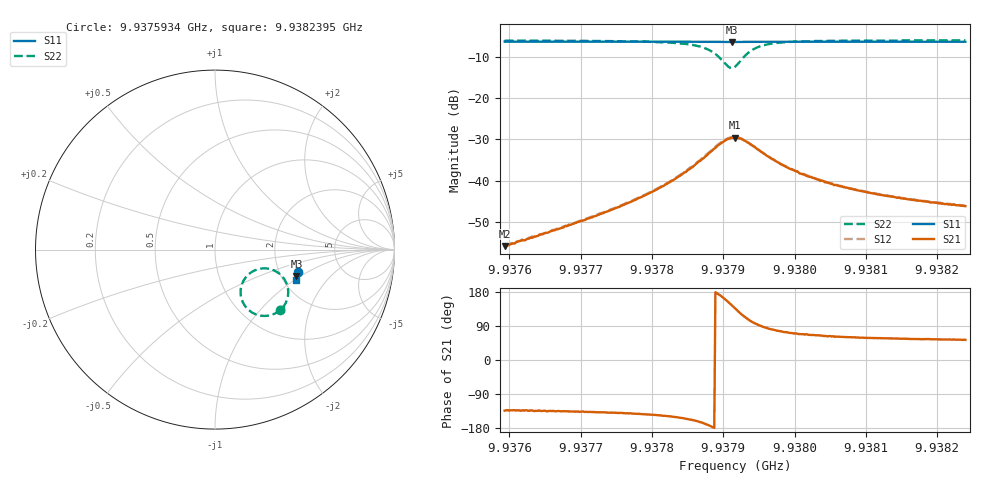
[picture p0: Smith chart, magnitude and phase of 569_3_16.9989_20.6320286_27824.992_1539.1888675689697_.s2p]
#  HZ  S  RI  R  50.00
! Rohde & Schwarz Vector Network Analyzer
! Rohde-Schwarz,ZNB20-2Port,1311601062101988,3.16
! Created: UTC 3/20/2024, 11:17:39 PM
! freq[Hz]  re:S11  im:S11  re:S21  im:S21  re:S12  im:S12  re:S22  im:S22
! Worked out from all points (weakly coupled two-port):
!   401 points, 9.9375934 GHz to 9.9382395 GHz, reference 50 ohm
!   highest |S21| = -29.54 dB at 9.9379165 GHz (marker M1); lowest = -55.8 dB at 9.9375934 GHz (marker M2)
!   lowest |S11| = -6.4 dB at 9.9379116 GHz (marker M3), VSWR 2.82, Z = 121 - j45.8 ohm
!   |S11| at or under -10 dB: nowhere
!   |S22| runs from -12.7 to -6.1 dB; largest |S21 - S12| = 0.0016
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9.93759343e9  0.4651 -0.1275  -0.00112 -0.00118  -0.00112 -0.00117  0.3626 -0.3374
9.93763543e9  0.4641 -0.1303  -0.00149 -0.00149  -0.00148 -0.0015  0.3574 -0.3416
9.93770165e9  0.4623 -0.1349  -0.00236 -0.00227  -0.00245 -0.00227  0.3458 -0.3494
9.93775819e9  0.4611 -0.1388  -0.00381 -0.00325  -0.00397 -0.00323  0.3304 -0.3579
9.93780988e9  0.4595 -0.1424  -0.00673 -0.00458  -0.00696 -0.00456  0.3026 -0.3666
9.93784541e9  0.4582 -0.1448  -0.0114 -0.00552  -0.0116 -0.00532  0.2638 -0.3692
9.93787287e9  0.4565 -0.1467  -0.0184 -0.0042  -0.0191 -0.00401  0.2054 -0.35
9.93788579e9  0.4555 -0.1474  -0.0239 -0.000877  -0.0245 -0.000308  0.1684 -0.3154
9.9378971e9  0.4545 -0.1474  -0.028 0.00561  -0.0285 0.0065  0.1439 -0.2562
9.93790679e9  0.4539 -0.1469  -0.0286 0.0142  -0.0289 0.0156  0.1529 -0.1861
9.93791164e9  0.4539 -0.1465  -0.027 0.0189  -0.0269 0.0205  0.1733 -0.1523
9.93791648e9  0.4542 -0.1464  -0.024 0.0232  -0.0237 0.0244  0.2038 -0.1254
9.93792456e9  0.4546 -0.1462  -0.0172 0.0274  -0.0165 0.0281  0.2643 -0.1051
9.93793587e9  0.4555 -0.1468  -0.00804 0.0275  -0.00707 0.0278  0.3364 -0.1197
9.93795202e9  0.4562 -0.1482  -0.000247 0.0227  0.000477 0.0229  0.3888 -0.1684
9.93796817e9  0.4562 -0.1495  0.00295 0.0181  0.00342 0.0182  0.4048 -0.2098
9.93799079e9  0.4557 -0.1516  0.00436 0.0137  0.00452 0.0138  0.4075 -0.2474
9.93802471e9  0.4552 -0.1542  0.00446 0.00995  0.00487 0.00996  0.4013 -0.2787
9.9380667e9  0.4539 -0.1572  0.00414 0.00743  0.00429 0.00744  0.3928 -0.2995
9.93813293e9  0.4523 -0.1618  0.00353 0.00546  0.00366 0.00544  0.382 -0.3172
9.93817654e9  0.4511 -0.1645  0.00327 0.0047  0.00338 0.00469  0.3766 -0.3248
9.93823954e9  0.4493 -0.1684  0.00296 0.00394  0.00307 0.00398  0.3697 -0.3328
